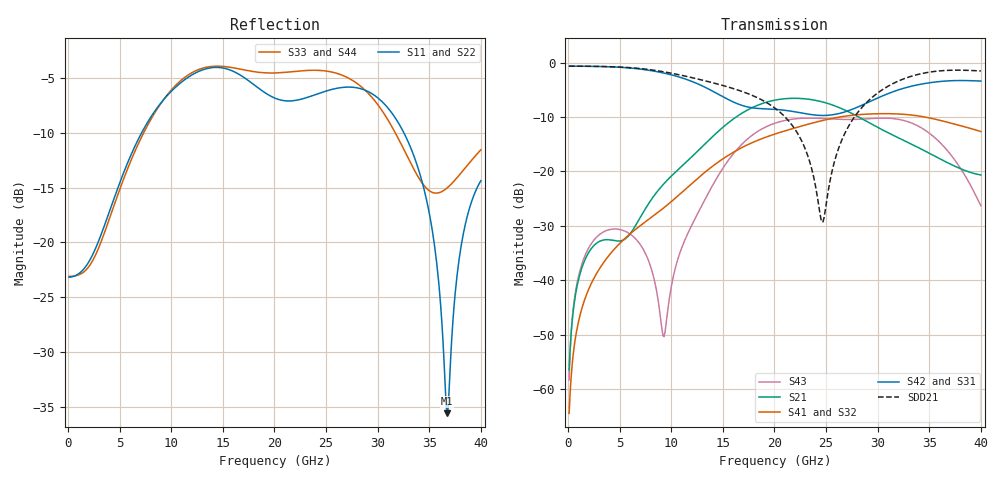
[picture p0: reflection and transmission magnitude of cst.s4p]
! E_s8_L1L3_p800_round_g2: pair L1→L3, pitch 0.8 mm, two round antipads, 2 GND vias
! stackup: 8-layer 1.6 mm FR-4 (generic)
! ports: 1 P near, 2 N near, 3 P far, 4 N far
! CST Studio Suite 2025.5 Release from 2025-05-30, time domain (FIT, hexahedral, PBA), 157248 mesh cells, 41 s
! mesh: {'lpw': 20, 'lpb': 20, 'minstep': 0.0, 'ratio': 20}; ports: port 1 (face); port 2 (face); port 3 (face); port 4 (face)
! interpolated from CST's 1001 samples to the case grid
# Hz S RI R 50
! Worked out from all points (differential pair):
!   400 points, 100 MHz to 40 GHz, reference 50 ohm
!   strongest paths, dB at 100 MHz, 10.1 GHz, 20.1 GHz, 30.1 GHz, 40 GHz:
!     S42: -0.6, -2.3, -8.6, -6.4, -3.4
!     S31: -0.6, -2.3, -8.6, -6.4, -3.4
!     S41: -64.5, -25.4, -13.1, -9.4, -12.7
!     S32: -64.5, -25.4, -13.1, -9.4, -12.7
!     S21: -56.5, -20.7, -6.9, -12.0, -20.7
!     S43: -58.4, -40.2, -11.1, -10.2, -26.3
!   taken as a pair (ports 2,1 in; 4,3 out), SDD21 dB: -0.6, -2.0, -8.4, -5.4, -1.5
!   lowest |S11| = -35.6 dB at 36.7 GHz (marker M1), VSWR 1.03, Z = 50.3 - j1.64 ohm
!   |S11| at or under -10 dB: start of sweep to 7.127 GHz; 32.54 GHz to end of sweep
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1e8  -0.0693 0.000526  0.00112 0.000984  0.9294 -0.0346  0.000423 -0.000427
     0.00112 0.000984  -0.0693 0.000526  0.000423 -0.000427  0.9294 -0.0346
     0.9294 -0.0346  0.000417 -0.000426  -0.0699 0.000436  0.000534 0.00108
     0.000417 -0.000426  0.9294 -0.0346  0.000534 0.00108  -0.0699 0.000436
8e9  0.0174 0.3715  0.0539 -0.00309  -0.8422 -0.0965  0.00931 0.0362
     0.0539 -0.00309  0.0174 0.3715  0.00931 0.0362  -0.8422 -0.0965
     -0.8422 -0.0965  0.00932 0.0362  -0.0478 0.3594  -0.00283 -0.013
     0.00932 0.0362  -0.8422 -0.0965  -0.00283 -0.013  -0.0478 0.3594
1.57e10  0.177 -0.5852  -0.2863 -0.0368  0.3932 0.2185  -0.1388 -0.0387
         -0.2863 -0.0368  0.177 -0.5852  -0.1388 -0.0387  0.3932 0.2185
         0.3932 0.2185  -0.1388 -0.0387  -0.00323 -0.6292  -0.1198 0.0584
         -0.1388 -0.0387  0.3932 0.2185  -0.1198 0.0584  -0.00323 -0.6292
2.31e10  -0.3115 0.3347  0.4273 -0.1815  0.0383 -0.3365  0.143 -0.2284
         0.4273 -0.1815  -0.3115 0.3347  0.143 -0.2284  0.0383 -0.3365
         0.0382 -0.3365  0.143 -0.2284  -0.0476 0.6068  0.1612 -0.2642
         0.143 -0.2284  0.0382 -0.3365  0.1612 -0.2642  -0.0476 0.6068
3.05e10  0.3718 -0.226  -0.1835 0.1552  -0.4838 0.1136  0.0388 0.3378
         -0.1835 0.1552  0.3718 -0.226  0.0388 0.3378  -0.4838 0.1136
         -0.4838 0.1136  0.0388 0.3378  0.1817 -0.3496  0.0928 0.2953
         0.0388 0.3378  -0.4838 0.1136  0.0928 0.2953  0.1817 -0.3496
3.67e10  0.00324 -0.0163  0.1044 -0.0616  0.5557 0.392  0.0374 -0.2822
         0.1044 -0.0616  0.00324 -0.0163  0.0374 -0.2822  0.5557 0.392
         0.5557 0.392  0.0374 -0.2822  -0.1513 -0.0912  -0.0109 -0.1574
         0.0374 -0.2822  0.5557 0.392  -0.0109 -0.1574  -0.1513 -0.0912
4e10  0.1097 -0.1566  -0.0625 -0.0686  0.5568 -0.3876  -0.2216 -0.0712
      -0.0625 -0.0686  0.1097 -0.1566  -0.2216 -0.0712  0.5568 -0.3876
      0.5568 -0.3876  -0.2215 -0.0712  -0.2257 0.1379  -0.048 0.00562
      -0.2216 -0.0712  0.5569 -0.3876  -0.048 0.00562  -0.2257 0.1379
